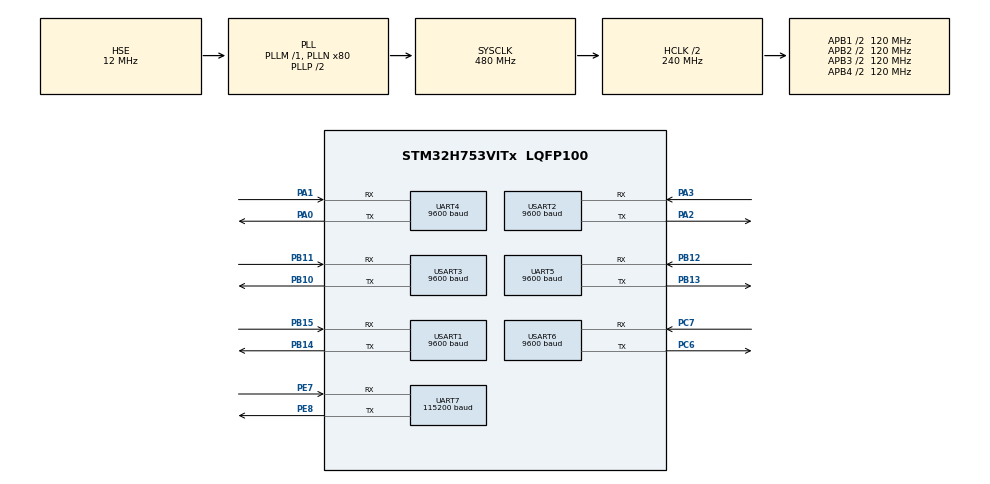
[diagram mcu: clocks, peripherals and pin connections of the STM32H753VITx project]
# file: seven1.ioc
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Dma.Request0=USART6_TX
Dma.Request1=USART6_RX
Dma.Request10=USART2_RX
Dma.Request11=USART2_TX
Dma.Request12=USART3_RX
Dma.Request13=USART3_TX
Dma.Request2=UART4_RX
Dma.Request3=UART4_TX
Dma.Request4=UART5_RX
Dma.Request5=UART5_TX
Dma.Request6=UART7_RX
Dma.Request7=UART7_TX
Dma.Request8=USART1_RX
Dma.Request9=USART1_TX
Dma.UART4_RX.2.Direction=DMA_PERIPH_TO_MEMORY
Dma.UART4_RX.2.EventEnable=DISABLE
Dma.UART4_RX.2.FIFOMode=DMA_FIFOMODE_DISABLE
Dma.UART4_RX.2.Instance=DMA1_Stream2
Dma.UART4_RX.2.MemDataAlignment=DMA_MDATAALIGN_BYTE
Dma.UART4_RX.2.MemInc=DMA_MINC_ENABLE
Dma.UART4_RX.2.Mode=DMA_CIRCULAR
Dma.UART4_RX.2.PeriphDataAlignment=DMA_PDATAALIGN_BYTE
Dma.UART4_RX.2.PeriphInc=DMA_PINC_DISABLE
Dma.UART4_RX.2.Polarity=HAL_DMAMUX_REQ_GEN_RISING
Dma.UART4_RX.2.Priority=DMA_PRIORITY_LOW
Dma.UART4_RX.2.RequestNumber=1
Dma.UART4_RX.2.SignalID=NONE
Dma.UART4_RX.2.SyncEnable=DISABLE
Dma.UART4_RX.2.SyncPolarity=HAL_DMAMUX_SYNC_NO_EVENT
Dma.UART4_RX.2.SyncRequestNumber=1
Dma.UART4_RX.2.SyncSignalID=NONE
Dma.UART4_TX.3.Direction=DMA_MEMORY_TO_PERIPH
Dma.UART4_TX.3.EventEnable=DISABLE
Dma.UART4_TX.3.FIFOMode=DMA_FIFOMODE_DISABLE
Dma.UART4_TX.3.Instance=DMA1_Stream3
Dma.UART4_TX.3.MemDataAlignment=DMA_MDATAALIGN_BYTE
Dma.UART4_TX.3.MemInc=DMA_MINC_ENABLE
Dma.UART4_TX.3.Mode=DMA_NORMAL
Dma.UART4_TX.3.PeriphDataAlignment=DMA_PDATAALIGN_BYTE
Dma.UART4_TX.3.PeriphInc=DMA_PINC_DISABLE
Dma.UART4_TX.3.Polarity=HAL_DMAMUX_REQ_GEN_RISING
Dma.UART4_TX.3.Priority=DMA_PRIORITY_LOW
Dma.UART4_TX.3.RequestNumber=1
Dma.UART4_TX.3.SignalID=NONE
Dma.UART4_TX.3.SyncEnable=DISABLE
Dma.UART4_TX.3.SyncPolarity=HAL_DMAMUX_SYNC_NO_EVENT
Dma.UART4_TX.3.SyncRequestNumber=1
Dma.UART4_TX.3.SyncSignalID=NONE
Dma.UART5_RX.4.Direction=DMA_PERIPH_TO_MEMORY
Dma.UART5_RX.4.EventEnable=DISABLE
Dma.UART5_RX.4.FIFOMode=DMA_FIFOMODE_DISABLE
Dma.UART5_RX.4.Instance=DMA1_Stream4
Dma.UART5_RX.4.MemDataAlignment=DMA_MDATAALIGN_BYTE
Dma.UART5_RX.4.MemInc=DMA_MINC_ENABLE
Dma.UART5_RX.4.Mode=DMA_CIRCULAR
Dma.UART5_RX.4.PeriphDataAlignment=DMA_PDATAALIGN_BYTE
Dma.UART5_RX.4.PeriphInc=DMA_PINC_DISABLE
Dma.UART5_RX.4.Polarity=HAL_DMAMUX_REQ_GEN_RISING
Dma.UART5_RX.4.Priority=DMA_PRIORITY_LOW
Dma.UART5_RX.4.RequestNumber=1
Dma.UART5_RX.4.SignalID=NONE
Dma.UART5_RX.4.SyncEnable=DISABLE
Dma.UART5_RX.4.SyncPolarity=HAL_DMAMUX_SYNC_NO_EVENT
Dma.UART5_RX.4.SyncRequestNumber=1
Dma.UART5_RX.4.SyncSignalID=NONE
Dma.UART5_TX.5.Direction=DMA_MEMORY_TO_PERIPH
Dma.UART5_TX.5.EventEnable=DISABLE
Dma.UART5_TX.5.FIFOMode=DMA_FIFOMODE_DISABLE
Dma.UART5_TX.5.Instance=DMA1_Stream5
Dma.UART5_TX.5.MemDataAlignment=DMA_MDATAALIGN_BYTE
Dma.UART5_TX.5.MemInc=DMA_MINC_ENABLE
Dma.UART5_TX.5.Mode=DMA_NORMAL
Dma.UART5_TX.5.PeriphDataAlignment=DMA_PDATAALIGN_BYTE
Dma.UART5_TX.5.PeriphInc=DMA_PINC_DISABLE
Dma.UART5_TX.5.Polarity=HAL_DMAMUX_REQ_GEN_RISING
Dma.UART5_TX.5.Priority=DMA_PRIORITY_LOW
Dma.UART5_TX.5.RequestNumber=1
Dma.UART5_TX.5.SignalID=NONE
Dma.UART5_TX.5.SyncEnable=DISABLE
Dma.UART5_TX.5.SyncPolarity=HAL_DMAMUX_SYNC_NO_EVENT
Dma.UART5_TX.5.SyncRequestNumber=1
Dma.UART5_TX.5.SyncSignalID=NONE
Dma.UART7_RX.6.Direction=DMA_PERIPH_TO_MEMORY
Dma.UART7_RX.6.EventEnable=DISABLE
Dma.UART7_RX.6.FIFOMode=DMA_FIFOMODE_DISABLE
Dma.UART7_RX.6.Instance=DMA1_Stream6
Dma.UART7_RX.6.MemDataAlignment=DMA_MDATAALIGN_BYTE
Dma.UART7_RX.6.MemInc=DMA_MINC_ENABLE
Dma.UART7_RX.6.Mode=DMA_CIRCULAR
Dma.UART7_RX.6.PeriphDataAlignment=DMA_PDATAALIGN_BYTE
Dma.UART7_RX.6.PeriphInc=DMA_PINC_DISABLE
Dma.UART7_RX.6.Polarity=HAL_DMAMUX_REQ_GEN_RISING
Dma.UART7_RX.6.Priority=DMA_PRIORITY_LOW
Dma.UART7_RX.6.RequestNumber=1
Dma.UART7_RX.6.SignalID=NONE
Dma.UART7_RX.6.SyncEnable=DISABLE
Dma.UART7_RX.6.SyncPolarity=HAL_DMAMUX_SYNC_NO_EVENT
Dma.UART7_RX.6.SyncRequestNumber=1
Dma.UART7_RX.6.SyncSignalID=NONE
Dma.UART7_TX.7.Direction=DMA_MEMORY_TO_PERIPH
Dma.UART7_TX.7.EventEnable=DISABLE
Dma.UART7_TX.7.FIFOMode=DMA_FIFOMODE_DISABLE
Dma.UART7_TX.7.Instance=DMA1_Stream7
Dma.UART7_TX.7.MemDataAlignment=DMA_MDATAALIGN_BYTE
Dma.UART7_TX.7.MemInc=DMA_MINC_ENABLE
Dma.UART7_TX.7.Mode=DMA_NORMAL
Dma.UART7_TX.7.PeriphDataAlignment=DMA_PDATAALIGN_BYTE
Dma.UART7_TX.7.PeriphInc=DMA_PINC_DISABLE
Dma.UART7_TX.7.Polarity=HAL_DMAMUX_REQ_GEN_RISING
Dma.UART7_TX.7.Priority=DMA_PRIORITY_LOW
Dma.UART7_TX.7.RequestNumber=1
Dma.UART7_TX.7.SignalID=NONE
Dma.UART7_TX.7.SyncEnable=DISABLE
Dma.UART7_TX.7.SyncPolarity=HAL_DMAMUX_SYNC_NO_EVENT
Dma.UART7_TX.7.SyncRequestNumber=1
Dma.UART7_TX.7.SyncSignalID=NONE
Dma.USART1_RX.8.Direction=DMA_PERIPH_TO_MEMORY
Dma.USART1_RX.8.EventEnable=DISABLE
Dma.USART1_RX.8.FIFOMode=DMA_FIFOMODE_DISABLE
Dma.USART1_RX.8.Instance=DMA2_Stream2
Dma.USART1_RX.8.MemDataAlignment=DMA_MDATAALIGN_BYTE
Dma.USART1_RX.8.MemInc=DMA_MINC_ENABLE
Dma.USART1_RX.8.Mode=DMA_CIRCULAR
Dma.USART1_RX.8.PeriphDataAlignment=DMA_PDATAALIGN_BYTE
Dma.USART1_RX.8.PeriphInc=DMA_PINC_DISABLE
Dma.USART1_RX.8.Polarity=HAL_DMAMUX_REQ_GEN_RISING
Dma.USART1_RX.8.Priority=DMA_PRIORITY_LOW
Dma.USART1_RX.8.RequestNumber=1
Dma.USART1_RX.8.SignalID=NONE
Dma.USART1_RX.8.SyncEnable=DISABLE
Dma.USART1_RX.8.SyncPolarity=HAL_DMAMUX_SYNC_NO_EVENT
Dma.USART1_RX.8.SyncRequestNumber=1
Dma.USART1_RX.8.SyncSignalID=NONE
Dma.USART1_TX.9.Direction=DMA_MEMORY_TO_PERIPH
Dma.USART1_TX.9.EventEnable=DISABLE
Dma.USART1_TX.9.FIFOMode=DMA_FIFOMODE_DISABLE
Dma.USART1_TX.9.Instance=DMA2_Stream3
Dma.USART1_TX.9.MemDataAlignment=DMA_MDATAALIGN_BYTE
Dma.USART1_TX.9.MemInc=DMA_MINC_ENABLE
Dma.USART1_TX.9.Mode=DMA_NORMAL
Dma.USART1_TX.9.PeriphDataAlignment=DMA_PDATAALIGN_BYTE
Dma.USART1_TX.9.PeriphInc=DMA_PINC_DISABLE
Dma.USART1_TX.9.Polarity=HAL_DMAMUX_REQ_GEN_RISING
Dma.USART1_TX.9.Priority=DMA_PRIORITY_LOW
Dma.USART1_TX.9.RequestNumber=1
Dma.USART1_TX.9.SignalID=NONE
Dma.USART1_TX.9.SyncEnable=DISABLE
Dma.USART1_TX.9.SyncPolarity=HAL_DMAMUX_SYNC_NO_EVENT
Dma.USART1_TX.9.SyncRequestNumber=1
Dma.USART1_TX.9.SyncSignalID=NONE
Dma.USART2_RX.10.Direction=DMA_PERIPH_TO_MEMORY
Dma.USART2_RX.10.EventEnable=DISABLE
Dma.USART2_RX.10.FIFOMode=DMA_FIFOMODE_DISABLE
Dma.USART2_RX.10.Instance=DMA2_Stream4
Dma.USART2_RX.10.MemDataAlignment=DMA_MDATAALIGN_BYTE
Dma.USART2_RX.10.MemInc=DMA_MINC_ENABLE
Dma.USART2_RX.10.Mode=DMA_CIRCULAR
Dma.USART2_RX.10.PeriphDataAlignment=DMA_PDATAALIGN_BYTE
Dma.USART2_RX.10.PeriphInc=DMA_PINC_DISABLE
Dma.USART2_RX.10.Polarity=HAL_DMAMUX_REQ_GEN_RISING
Dma.USART2_RX.10.Priority=DMA_PRIORITY_LOW
Dma.USART2_RX.10.RequestNumber=1
Dma.USART2_RX.10.SignalID=NONE
Dma.USART2_RX.10.SyncEnable=DISABLE
Dma.USART2_RX.10.SyncPolarity=HAL_DMAMUX_SYNC_NO_EVENT
Dma.USART2_RX.10.SyncRequestNumber=1
Dma.USART2_RX.10.SyncSignalID=NONE
Dma.USART2_TX.11.Direction=DMA_MEMORY_TO_PERIPH
Dma.USART2_TX.11.EventEnable=DISABLE
Dma.USART2_TX.11.FIFOMode=DMA_FIFOMODE_DISABLE
Dma.USART2_TX.11.Instance=DMA2_Stream5
Dma.USART2_TX.11.MemDataAlignment=DMA_MDATAALIGN_BYTE
Dma.USART2_TX.11.MemInc=DMA_MINC_ENABLE
Dma.USART2_TX.11.Mode=DMA_NORMAL
Dma.USART2_TX.11.PeriphDataAlignment=DMA_PDATAALIGN_BYTE
Dma.USART2_TX.11.PeriphInc=DMA_PINC_DISABLE
Dma.USART2_TX.11.Polarity=HAL_DMAMUX_REQ_GEN_RISING
Dma.USART2_TX.11.Priority=DMA_PRIORITY_LOW
Dma.USART2_TX.11.RequestNumber=1
Dma.USART2_TX.11.SignalID=NONE
Dma.USART2_TX.11.SyncEnable=DISABLE
Dma.USART2_TX.11.SyncPolarity=HAL_DMAMUX_SYNC_NO_EVENT
Dma.USART2_TX.11.SyncRequestNumber=1
Dma.USART2_TX.11.SyncSignalID=NONE
Dma.USART3_RX.12.Direction=DMA_PERIPH_TO_MEMORY
Dma.USART3_RX.12.EventEnable=DISABLE
Dma.USART3_RX.12.FIFOMode=DMA_FIFOMODE_DISABLE
Dma.USART3_RX.12.Instance=DMA2_Stream6
Dma.USART3_RX.12.MemDataAlignment=DMA_MDATAALIGN_BYTE
Dma.USART3_RX.12.MemInc=DMA_MINC_ENABLE
Dma.USART3_RX.12.Mode=DMA_CIRCULAR
Dma.USART3_RX.12.PeriphDataAlignment=DMA_PDATAALIGN_BYTE
Dma.USART3_RX.12.PeriphInc=DMA_PINC_DISABLE
Dma.USART3_RX.12.Polarity=HAL_DMAMUX_REQ_GEN_RISING
Dma.USART3_RX.12.Priority=DMA_PRIORITY_LOW
Dma.USART3_RX.12.RequestNumber=1
Dma.USART3_RX.12.SignalID=NONE
Dma.USART3_RX.12.SyncEnable=DISABLE
Dma.USART3_RX.12.SyncPolarity=HAL_DMAMUX_SYNC_NO_EVENT
Dma.USART3_RX.12.SyncRequestNumber=1
Dma.USART3_RX.12.SyncSignalID=NONE
Dma.USART3_TX.13.Direction=DMA_MEMORY_TO_PERIPH
Dma.USART3_TX.13.EventEnable=DISABLE
Dma.USART3_TX.13.FIFOMode=DMA_FIFOMODE_DISABLE
Dma.USART3_TX.13.Instance=DMA2_Stream7
Dma.USART3_TX.13.MemDataAlignment=DMA_MDATAALIGN_BYTE
Dma.USART3_TX.13.MemInc=DMA_MINC_ENABLE
Dma.USART3_TX.13.Mode=DMA_NORMAL
Dma.USART3_TX.13.PeriphDataAlignment=DMA_PDATAALIGN_BYTE
Dma.USART3_TX.13.PeriphInc=DMA_PINC_DISABLE
Dma.USART3_TX.13.Polarity=HAL_DMAMUX_REQ_GEN_RISING
Dma.USART3_TX.13.Priority=DMA_PRIORITY_LOW
Dma.USART3_TX.13.RequestNumber=1
Dma.USART3_TX.13.SignalID=NONE
Dma.USART3_TX.13.SyncEnable=DISABLE
Dma.USART3_TX.13.SyncPolarity=HAL_DMAMUX_SYNC_NO_EVENT
Dma.USART3_TX.13.SyncRequestNumber=1
Dma.USART3_TX.13.SyncSignalID=NONE
Dma.USART6_RX.1.Direction=DMA_PERIPH_TO_MEMORY
Dma.USART6_RX.1.EventEnable=DISABLE
Dma.USART6_RX.1.FIFOMode=DMA_FIFOMODE_DISABLE
Dma.USART6_RX.1.Instance=DMA1_Stream1
Dma.USART6_RX.1.MemDataAlignment=DMA_MDATAALIGN_BYTE
Dma.USART6_RX.1.MemInc=DMA_MINC_ENABLE
Dma.USART6_RX.1.Mode=DMA_CIRCULAR
Dma.USART6_RX.1.PeriphDataAlignment=DMA_PDATAALIGN_BYTE
Dma.USART6_RX.1.PeriphInc=DMA_PINC_DISABLE
Dma.USART6_RX.1.Polarity=HAL_DMAMUX_REQ_GEN_RISING
Dma.USART6_RX.1.Priority=DMA_PRIORITY_LOW
Dma.USART6_RX.1.RequestNumber=1
Dma.USART6_RX.1.SignalID=NONE
Dma.USART6_RX.1.SyncEnable=DISABLE
Dma.USART6_RX.1.SyncPolarity=HAL_DMAMUX_SYNC_NO_EVENT
Dma.USART6_RX.1.SyncRequestNumber=1
Dma.USART6_RX.1.SyncSignalID=NONE
Dma.USART6_TX.0.Direction=DMA_MEMORY_TO_PERIPH
Dma.USART6_TX.0.EventEnable=DISABLE
Dma.USART6_TX.0.FIFOMode=DMA_FIFOMODE_DISABLE
Dma.USART6_TX.0.Instance=DMA1_Stream0
Dma.USART6_TX.0.MemDataAlignment=DMA_MDATAALIGN_BYTE
Dma.USART6_TX.0.MemInc=DMA_MINC_ENABLE
Dma.USART6_TX.0.Mode=DMA_CIRCULAR
Dma.USART6_TX.0.PeriphDataAlignment=DMA_PDATAALIGN_BYTE
Dma.USART6_TX.0.PeriphInc=DMA_PINC_DISABLE
Dma.USART6_TX.0.Polarity=HAL_DMAMUX_REQ_GEN_RISING
Dma.USART6_TX.0.Priority=DMA_PRIORITY_LOW
Dma.USART6_TX.0.RequestNumber=1
Dma.USART6_TX.0.SignalID=NONE
Dma.USART6_TX.0.SyncEnable=DISABLE
Dma.USART6_TX.0.SyncPolarity=HAL_DMAMUX_SYNC_NO_EVENT
Dma.USART6_TX.0.SyncRequestNumber=1
Dma.USART6_TX.0.SyncSignalID=NONE
Mcu.Family=STM32H7
Mcu.Name=STM32H753VITx
Mcu.Package=LQFP100
NVIC.DMA1_Stream0_IRQn=true\:0\:0\:false\:false\:true\:false\:true\:true
NVIC.DMA1_Stream1_IRQn=true\:0\:0\:false\:false\:true\:false\:true\:true
NVIC.DMA1_Stream2_IRQn=true\:0\:0\:false\:false\:true\:false\:true\:true
NVIC.DMA1_Stream3_IRQn=true\:0\:0\:false\:false\:true\:false\:true\:true
NVIC.DMA1_Stream4_IRQn=true\:0\:0\:false\:false\:true\:false\:true\:true
NVIC.DMA1_Stream5_IRQn=true\:0\:0\:false\:false\:true\:false\:true\:true
NVIC.DMA1_Stream6_IRQn=true\:0\:0\:false\:false\:true\:false\:true\:true
NVIC.DMA1_Stream7_IRQn=true\:0\:0\:false\:false\:true\:false\:true\:true
NVIC.DMA2_Stream2_IRQn=true\:0\:0\:false\:false\:true\:false\:true\:true
NVIC.DMA2_Stream3_IRQn=true\:0\:0\:false\:false\:true\:false\:true\:true
NVIC.DMA2_Stream4_IRQn=true\:0\:0\:false\:false\:true\:false\:true\:true
NVIC.DMA2_Stream5_IRQn=true\:0\:0\:false\:false\:true\:false\:true\:true
NVIC.DMA2_Stream6_IRQn=true\:0\:0\:false\:false\:true\:false\:true\:true
NVIC.DMA2_Stream7_IRQn=true\:0\:0\:false\:false\:true\:false\:true\:true
NVIC.PriorityGroup=NVIC_PRIORITYGROUP_4
NVIC.TIM2_IRQn=true\:0\:0\:false\:false\:true\:true\:true\:true
NVIC.UART4_IRQn=true\:0\:0\:false\:false\:true\:true\:true\:true
NVIC.UART5_IRQn=true\:0\:0\:false\:false\:true\:true\:true\:true
NVIC.UART7_IRQn=true\:0\:0\:false\:false\:true\:true\:true\:true
NVIC.USART1_IRQn=true\:0\:0\:false\:false\:true\:true\:true\:true
NVIC.USART2_IRQn=true\:0\:0\:false\:false\:true\:true\:true\:true
NVIC.USART3_IRQn=true\:0\:0\:false\:false\:true\:true\:true\:true
NVIC.USART6_IRQn=true\:0\:0\:false\:false\:true\:true\:true\:true
PA0.Mode=Asynchronous
PA0.Signal=UART4_TX
PA1.Mode=Asynchronous
PA1.Signal=UART4_RX
PA13\ (JTMS/SWDIO).Mode=Serial_Wire
PA13\ (JTMS/SWDIO).Signal=DEBUG_JTMS-SWDIO
PA14\ (JTCK/SWCLK).Mode=Serial_Wire
PA14\ (JTCK/SWCLK).Signal=DEBUG_JTCK-SWCLK
PA2.Mode=Asynchronous
PA2.Signal=USART2_TX
PA3.Mode=Asynchronous
PA3.Signal=USART2_RX
PB10.Mode=Asynchronous
PB10.Signal=USART3_TX
PB11.Mode=Asynchronous
PB11.Signal=USART3_RX
PB12.Mode=Asynchronous
PB12.Signal=UART5_RX
PB13.Mode=Asynchronous
PB13.Signal=UART5_TX
PB14.Mode=Asynchronous
PB14.Signal=USART1_TX
PB15.Mode=Asynchronous
PB15.Signal=USART1_RX
PC6.Mode=Asynchronous
PC6.Signal=USART6_TX
PC7.Mode=Asynchronous
PC7.Signal=USART6_RX
PE7.Mode=Asynchronous
PE7.Signal=UART7_RX
PE8.Mode=Asynchronous
PE8.Signal=UART7_TX
PH0-OSC_IN\ (PH0).Mode=HSE-External-Oscillator
PH0-OSC_IN\ (PH0).Signal=RCC_OSC_IN
PH1-OSC_OUT\ (PH1).Mode=HSE-External-Oscillator
PH1-OSC_OUT\ (PH1).Signal=RCC_OSC_OUT
ProjectManager.HeapSize=0x200
ProjectManager.StackSize=0x400
ProjectManager.TargetToolchain=MDK-ARM V5.32
RCC.ADCFreq_Value=24187500
RCC.APB1Freq_Value=120000000
RCC.APB2Freq_Value=120000000
RCC.APB3Freq_Value=120000000
RCC.APB4Freq_Value=120000000
RCC.CortexFreq_Value=480000000
RCC.D1PPRE=RCC_APB3_DIV2
RCC.D2PPRE1=RCC_APB1_DIV2
RCC.D2PPRE2=RCC_APB2_DIV2
RCC.D3PPRE=RCC_APB4_DIV2
RCC.DIVM1=1
RCC.DIVN1=80
RCC.HCLKFreq_Value=240000000
RCC.HPRE=RCC_HCLK_DIV2
RCC.HSE_VALUE=12000000
RCC.PLL2FRACN=0
RCC.PLL3FRACN=0
RCC.PLLFRACN=0
RCC.PLLSourceVirtual=RCC_PLLSOURCE_HSE
RCC.SYSCLKFreq_VALUE=480000000
RCC.SYSCLKSource=RCC_SYSCLKSOURCE_PLLCLK
RCC.USBFreq_Value=480000000
TIM2.AutoReloadPreload=TIM_AUTORELOAD_PRELOAD_ENABLE
TIM2.Period=99999
TIM2.Prescaler=80
UART4.BaudRate=9600
UART5.BaudRate=9600
UART7.BaudRate=115200
USART1.BaudRate=9600
USART1.VirtualMode-Asynchronous=VM_ASYNC
USART2.BaudRate=9600
USART2.VirtualMode-Asynchronous=VM_ASYNC
USART3.BaudRate=9600
USART3.VirtualMode-Asynchronous=VM_ASYNC
USART6.BaudRate=9600
USART6.VirtualMode=VM_ASYNC
VP_TIM2_VS_ClockSourceINT.Mode=Internal
board=custom

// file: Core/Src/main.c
/* USER CODE BEGIN Header */
/**
  ******************************************************************************
  * @file           : main.c
  * @brief          : Main program body
  ******************************************************************************
  * @attention
  *
  * Copyright (c) 2024 STMicroelectronics.
  * All rights reserved.
  *
  * This software is licensed under terms that can be found in the LICENSE file
  * in the root directory of this software component.
  * If no LICENSE file comes with this software, it is provided AS-IS.
  *
  ******************************************************************************
  */
/* USER CODE END Header */
#include "main.h"
#include "dma.h"
#include "tim.h"
#include "usart.h"
#include "gpio.h"

void SystemClock_Config(void);

/* USER CODE BEGIN 0 */
uint8_t buff1[256]={0};
uint8_t buff2[256]={0};
uint8_t buff3[256]={0};
uint8_t buff4[256]={0};
uint8_t buff5[256]={0};
uint8_t buff6[256]={0};
uint8_t top1=0;
uint8_t top2=0;
uint8_t top3=0;
uint8_t top4=0;
uint8_t top5=0;
uint8_t top6=0;
float angle1=0;
float angle2=0;
float angle3=0;
float angle4=0;
float angle5=0;
float angle6=0;
uint8_t sendbuff[39]={0};
extern const unsigned char CRC8_INIT;
extern uint16_t CRC_INIT;
extern unsigned char Get_CRC8_Check_Sum(unsigned char *pchMessage,unsigned int dwLength,unsigned char ucCRC8);
extern uint16_t Get_CRC16_Check_Sum(uint8_t *pchMessage,uint32_t dwLength,uint16_t wCRC);
/* USER CODE END 0 */

int main(void)
{

  /* MCU Configuration--------------------------------------------------------*/

  /* Reset of all peripherals, Initializes the Flash interface and the Systick. */
  HAL_Init();

  /* Configure the system clock */
  SystemClock_Config();

  /* Initialize all configured peripherals */
  MX_GPIO_Init();
  MX_DMA_Init();
  MX_UART5_Init();
  MX_UART7_Init();
  MX_USART1_UART_Init();
  MX_USART2_UART_Init();
  MX_USART3_UART_Init();
  MX_UART4_Init();
  MX_USART6_UART_Init();
  MX_TIM2_Init();
	int data_length = 30;
	int cmd_id = 0x0302;
  /* USER CODE BEGIN 2 */
  HAL_UARTEx_ReceiveToIdle_DMA(&huart1,buff1,256);
  HAL_UARTEx_ReceiveToIdle_DMA(&huart2,buff2,256);
  HAL_UARTEx_ReceiveToIdle_DMA(&huart3,buff3,256);
  HAL_UARTEx_ReceiveToIdle_DMA(&huart4,buff4,256);
  HAL_UARTEx_ReceiveToIdle_DMA(&huart5,buff5,256);
	HAL_UARTEx_ReceiveToIdle_DMA(&huart6,buff6,256);
  HAL_TIM_Base_Start_IT(&htim2);
//  sendbuff[0]=0xA5;
//  sendbuff[1]=(int16_t)(data_length);
//  sendbuff[2]=(int16_t)(data_length)>>8;
//  sendbuff[3]=0x5C;
//  sendbuff[4]=Get_CRC8_Check_Sum(sendbuff,4,CRC8_INIT);
//  sendbuff[5]=(int16_t)(cmd_id);
//  sendbuff[6]=(int16_t)(cmd_id)>>8;

  sendbuff[0]=0xA5;
  sendbuff[1]=(int16_t)(data_length);;
  sendbuff[2]=(int16_t)(data_length)>>8;
  sendbuff[3]=0x5C;
  sendbuff[4]=Get_CRC8_Check_Sum(sendbuff,4,CRC8_INIT);
  sendbuff[5]=(int16_t)(cmd_id);
  sendbuff[6]=(int16_t)(cmd_id)>>8;
  /* USER CODE END 2 */

  /* Infinite loop */
  while (1)
  {

  }
}

void SystemClock_Config(void)
{
  RCC_OscInitTypeDef RCC_OscInitStruct = {0};
  RCC_ClkInitTypeDef RCC_ClkInitStruct = {0};

  /** Supply configuration update enable
  */
  HAL_PWREx_ConfigSupply(PWR_LDO_SUPPLY);

  /** Configure the main internal regulator output voltage
  */
  __HAL_PWR_VOLTAGESCALING_CONFIG(PWR_REGULATOR_VOLTAGE_SCALE1);

  while(!__HAL_PWR_GET_FLAG(PWR_FLAG_VOSRDY)) {}

  __HAL_RCC_SYSCFG_CLK_ENABLE();
  __HAL_PWR_VOLTAGESCALING_CONFIG(PWR_REGULATOR_VOLTAGE_SCALE0);

  while(!__HAL_PWR_GET_FLAG(PWR_FLAG_VOSRDY)) {}

  /** Initializes the RCC Oscillators according to the specified parameters
  * in the RCC_OscInitTypeDef structure.
  */
  RCC_OscInitStruct.OscillatorType = RCC_OSCILLATORTYPE_HSE;
  RCC_OscInitStruct.HSEState = RCC_HSE_ON;
  RCC_OscInitStruct.PLL.PLLState = RCC_PLL_ON;
  RCC_OscInitStruct.PLL.PLLSource = RCC_PLLSOURCE_HSE;
  RCC_OscInitStruct.PLL.PLLM = 1;
  RCC_OscInitStruct.PLL.PLLN = 80;
  RCC_OscInitStruct.PLL.PLLP = 2;
  RCC_OscInitStruct.PLL.PLLQ = 2;
  RCC_OscInitStruct.PLL.PLLR = 2;
  RCC_OscInitStruct.PLL.PLLRGE = RCC_PLL1VCIRANGE_3;
  RCC_OscInitStruct.PLL.PLLVCOSEL = RCC_PLL1VCOWIDE;
  RCC_OscInitStruct.PLL.PLLFRACN = 0;
  if (HAL_RCC_OscConfig(&RCC_OscInitStruct) != HAL_OK)
  {
    Error_Handler();
  }

  /** Initializes the CPU, AHB and APB buses clocks
  */
  RCC_ClkInitStruct.ClockType = RCC_CLOCKTYPE_HCLK|RCC_CLOCKTYPE_SYSCLK
                              |RCC_CLOCKTYPE_PCLK1|RCC_CLOCKTYPE_PCLK2
                              |RCC_CLOCKTYPE_D3PCLK1|RCC_CLOCKTYPE_D1PCLK1;
  RCC_ClkInitStruct.SYSCLKSource = RCC_SYSCLKSOURCE_PLLCLK;
  RCC_ClkInitStruct.SYSCLKDivider = RCC_SYSCLK_DIV1;
  RCC_ClkInitStruct.AHBCLKDivider = RCC_HCLK_DIV2;
  RCC_ClkInitStruct.APB3CLKDivider = RCC_APB3_DIV2;
  RCC_ClkInitStruct.APB1CLKDivider = RCC_APB1_DIV2;
  RCC_ClkInitStruct.APB2CLKDivider = RCC_APB2_DIV2;
  RCC_ClkInitStruct.APB4CLKDivider = RCC_APB4_DIV2;

  if (HAL_RCC_ClockConfig(&RCC_ClkInitStruct, FLASH_LATENCY_4) != HAL_OK)
  {
    Error_Handler();
  }
}

uint32_t count=0;
void HAL_TIM_PeriodElapsedCallback(TIM_HandleTypeDef *htim)
{
  uint16_t temp=0;
  if(htim==&htim2)
  {
    count++;
		sendbuff[7]=1;
    sendbuff[8]=((uint8_t*)&angle4)[0];
    sendbuff[9]=((uint8_t*)&angle4)[1];
    sendbuff[10]=((uint8_t*)&angle4)[2];
    sendbuff[11]=((uint8_t*)&angle4)[3];

    sendbuff[12]=((uint8_t*)&angle2)[0];
    sendbuff[13]=((uint8_t*)&angle2)[1];
    sendbuff[14]=((uint8_t*)&angle2)[2];
    sendbuff[15]=((uint8_t*)&angle2)[3];

    sendbuff[16]=((uint8_t*)&angle3)[0];
    sendbuff[17]=((uint8_t*)&angle3)[1];
    sendbuff[18]=((uint8_t*)&angle3)[2];
    sendbuff[19]=((uint8_t*)&angle3)[3];

    sendbuff[20]=((uint8_t*)&angle1)[0];
    sendbuff[21]=((uint8_t*)&angle1)[1];
    sendbuff[22]=((uint8_t*)&angle1)[2];
    sendbuff[23]=((uint8_t*)&angle1)[3];

    sendbuff[24]=((uint8_t*)&angle5)[0];
    sendbuff[25]=((uint8_t*)&angle5)[1];
    sendbuff[26]=((uint8_t*)&angle5)[2];
    sendbuff[27]=((uint8_t*)&angle5)[3];

    sendbuff[28]=((uint8_t*)&angle6)[0];
    sendbuff[29]=((uint8_t*)&angle6)[1];
    sendbuff[30]=((uint8_t*)&angle6)[2];
    sendbuff[31]=((uint8_t*)&angle6)[3];

    sendbuff[32] = 0;
    sendbuff[33] = 0;
    sendbuff[34] = 0;
    sendbuff[35] = 0;
    sendbuff[36] = 0;
    temp=Get_CRC16_Check_Sum(sendbuff,37,CRC_INIT);
    sendbuff[38]=temp>>8;
    sendbuff[37]=temp;

    HAL_UART_Transmit_DMA(&huart7,sendbuff,39);
  }
}
float angle_tranform(uint8_t *buff)
{
  uint32_t temp=0;
  for(int i=0;i<=3;i++)
    ((uint8_t*)(&temp))[i]=buff[3-i];
  return temp/262144.0f*360.0f;
}
void HAL_UARTEx_RxEventCallback(UART_HandleTypeDef *huart, uint16_t Size)
{
  if(huart==&huart1)
  {
    if(top1<(uint8_t)(top1+9)&&Size-top1==9)
    {
      if(buff1[top1]==0x00&&buff1[top1+1]==0x03&&buff1[top1+2]==0x04)
        angle1=angle_tranform(&buff1[(uint8_t)(top1+3)]);
    }
    top1=Size;
  }
  else if(huart==&huart2)
  {
    if(top2<(uint8_t)(top2+9)&&Size-top2==9)
    {
      if(buff2[top2]==0x00&&buff2[top2+1]==0x03&&buff2[top2+2]==0x04)
        angle2=angle_tranform(&buff2[(uint8_t)(top2+3)]);
    }
    top2=Size;
  }
  else if(huart==&huart3)
  {
    if(top3<(uint8_t)(top3+9)&&Size-top3==9)
    {
      if(buff3[top3]==0x00&&buff3[top3+1]==0x03&&buff3[top3+2]==0x04)
        angle3=angle_tranform(&buff3[(uint8_t)(top3+3)]);
    }
    top3=Size;
  }
  else if(huart==&huart4)
  {
    if(top4<(uint8_t)(top4+9)&&Size-top4==9)
    {
      if(buff4[top4]==0x00&&buff4[top4+1]==0x03&&buff4[top4+2]==0x04)
        angle4=angle_tranform(&buff4[(uint8_t)(top4+3)]);
    }
    top4=Size;
  }
  else if(huart==&huart5)
  {
    if(top5<(uint8_t)(top5+9)&&Size-top5==9)
    {
      if(buff5[top5]==0x00&&buff5[top5+1]==0x03&&buff5[top5+2]==0x04)
        angle5=angle_tranform(&buff5[(uint8_t)(top5+3)]);
    }
    top5=Size;
  }
  else if(huart==&huart6)
  {
    if(top6<(uint8_t)(top6+9)&&Size-top6==9)
    {
      if(buff6[top6]==0x00&&buff6[top6+1]==0x03&&buff6[top6+2]==0x04)
        angle6=angle_tranform(&buff6[(uint8_t)(top6+3)]);
    }
    top6=Size;
  }
}
/* USER CODE END 4 */

void Error_Handler(void)
{
  __disable_irq();
  while (1)
  {
  }
}
